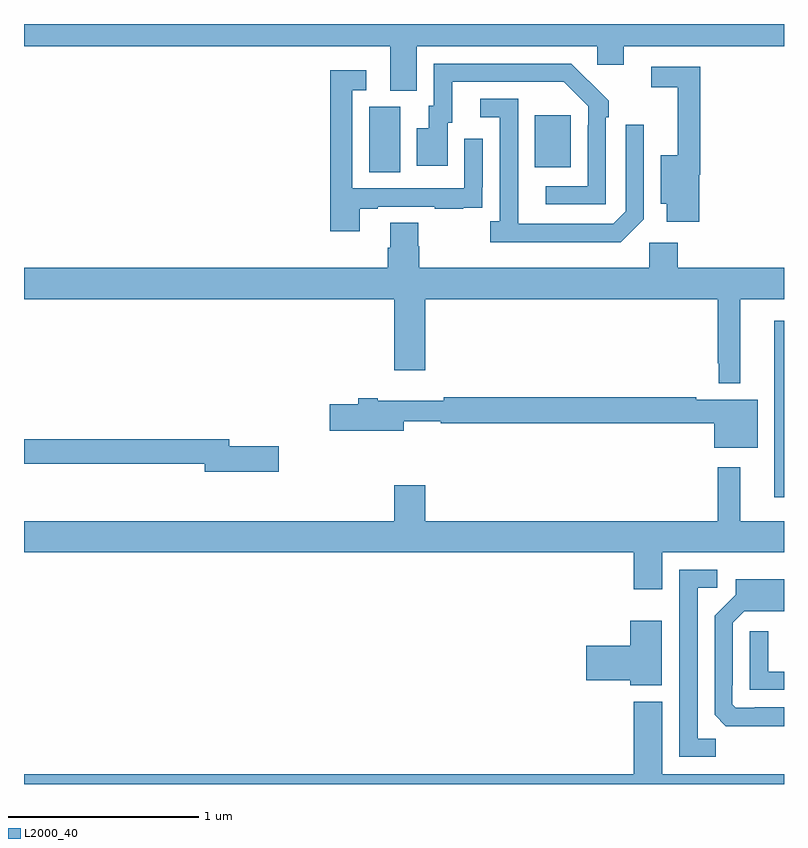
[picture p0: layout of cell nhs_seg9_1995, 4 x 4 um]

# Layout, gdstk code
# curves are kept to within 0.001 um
import gdstk
lib = gdstk.Library(unit=1e-6, precision=1e-09)
def R(c, l, rs):  # rectangles x0, y0, x1, y1
    for r in rs: c.add(gdstk.rectangle(r[:2], r[2:], *l))
def P(c, l, *ps):  # polygons
    for p in ps: c.add(gdstk.Polygon(p, *l))
L2000_40 = (2000, 40)

nhs_seg9_1995 = lib.new_cell('nhs_seg9_1995')
R(nhs_seg9_1995, L2000_40, [(226.949,1230.009,227,1230.937), (224.816,1231.72,224.98,1232.064), (225.689,1231.745,225.877,1232.02)])
P(nhs_seg9_1995, L2000_40, [(225.067,1232.384),(226.017,1232.384),(226.017,1232.286),(226.156,1232.286),(226.156,1232.384),(227,1232.384),(227,1232.5),(223,1232.5),(223,1232.384),(224.927,1232.384),(224.927,1232.149),(225.067,1232.149)],
  [(226.062,1232.009),(226.077,1232.009),(226.077,1232.097),(225.88,1232.292),(225.156,1232.292),(225.156,1232.07),(225.131,1232.07),(225.131,1231.951),(225.068,1231.951),(225.068,1231.755),(225.229,1231.755),(225.229,1231.98),(225.253,1231.98),(225.253,1232.196),(225.841,1232.196),(225.969,1232.067),(225.969,1231.967),(225.966,1231.967),(225.966,1231.647),(225.747,1231.647),(225.747,1231.551),(226.062,1231.551)],
  [(226.553,1231.706),(226.559,1231.706),(226.559,1232.274),(226.302,1232.274),(226.302,1232.166),(226.442,1232.166),(226.442,1231.81),(226.352,1231.81),(226.352,1231.553),(226.382,1231.553),(226.382,1231.458),(226.553,1231.458)],
  [(224.767,1231.527),(224.863,1231.527),(224.863,1231.539),(225.163,1231.539),(225.163,1231.527),(225.311,1231.527),(225.311,1231.533),(225.413,1231.533),(225.413,1231.642),(225.414,1231.642),(225.414,1231.897),(225.318,1231.897),(225.318,1231.635),(224.727,1231.635),(224.727,1232.151),(224.8,1232.151),(224.8,1232.257),(224.611,1232.257),(224.611,1231.41),(224.767,1231.41)],
  [(226.263,1231.473),(226.263,1231.969),(226.167,1231.969),(226.167,1231.515),(226.101,1231.449),(225.601,1231.449),(225.6,1232.106),(225.402,1232.106),(225.402,1232.01),(225.504,1232.01),(225.504,1231.462),(225.453,1231.462),(225.453,1231.352),(226.142,1231.352)],
  [(226.771,1231.052),(227,1231.052),(227,1231.216),(226.442,1231.216),(226.442,1231.348),(226.29,1231.348),(226.29,1231.216),(225.08,1231.216),(225.08,1231.329),(225.075,1231.329),(225.075,1231.454),(224.927,1231.454),(224.927,1231.322),(224.915,1231.322),(224.915,1231.216),(223,1231.216),(223,1231.052),(224.948,1231.052),(224.948,1230.678),(225.112,1230.678),(225.112,1231.052),(226.65,1231.052),(226.65,1230.715),(226.656,1230.715),(226.656,1230.608),(226.771,1230.608)],
  [(226.861,1230.523),(226.538,1230.523),(226.538,1230.536),(225.208,1230.536),(225.208,1230.517),(224.863,1230.517),(224.863,1230.53),(224.759,1230.53),(224.759,1230.5),(224.61,1230.5),(224.61,1230.358),(224.998,1230.358),(224.998,1230.408),(225.194,1230.408),(225.194,1230.4),(226.634,1230.4),(226.634,1230.269),(226.861,1230.269)],
  [(224.341,1230.278),(224.08,1230.278),(224.08,1230.314),(223,1230.314),(223,1230.186),(223.952,1230.186),(223.952,1230.143),(224.341,1230.143)],
  [(226.36,1229.72),(227,1229.72),(227,1229.884),(226.771,1229.884),(226.771,1230.166),(226.65,1230.166),(226.65,1229.884),(225.112,1229.884),(225.112,1230.073),(224.948,1230.073),(224.948,1229.884),(223,1229.884),(223,1229.72),(226.208,1229.72),(226.208,1229.526),(226.36,1229.526)],
  [(226.641,1228.739),(226.545,1228.739),(226.545,1229.532),(226.648,1229.532),(226.648,1229.628),(226.449,1229.628),(226.449,1228.644),(226.641,1228.644)],
  [(227,1228.905),(226.846,1228.905),(226.846,1228.902),(226.746,1228.902),(226.728,1228.92),(226.728,1229.02),(226.731,1229.02),(226.731,1229.349),(226.791,1229.409),(227,1229.408),(227,1229.578),(226.745,1229.578),(226.745,1229.496),(226.635,1229.386),(226.635,1228.864),(226.694,1228.805),(227,1228.804)],
  [(226.357,1229.359),(226.19,1229.359),(226.19,1229.228),(225.96,1229.228),(225.96,1229.045),(226.19,1229.045),(226.19,1229.021),(226.357,1229.021)],
  [(227,1229.091),(226.917,1229.091),(226.917,1229.305),(226.821,1229.305),(226.821,1228.995),(227,1228.995)],
  [(227,1228.552),(226.36,1228.552),(226.36,1228.933),(226.208,1228.933),(226.208,1228.552),(223,1228.552),(223,1228.5),(227,1228.5)])

lib.write_gds('nhs_seg9_1995.gds')
